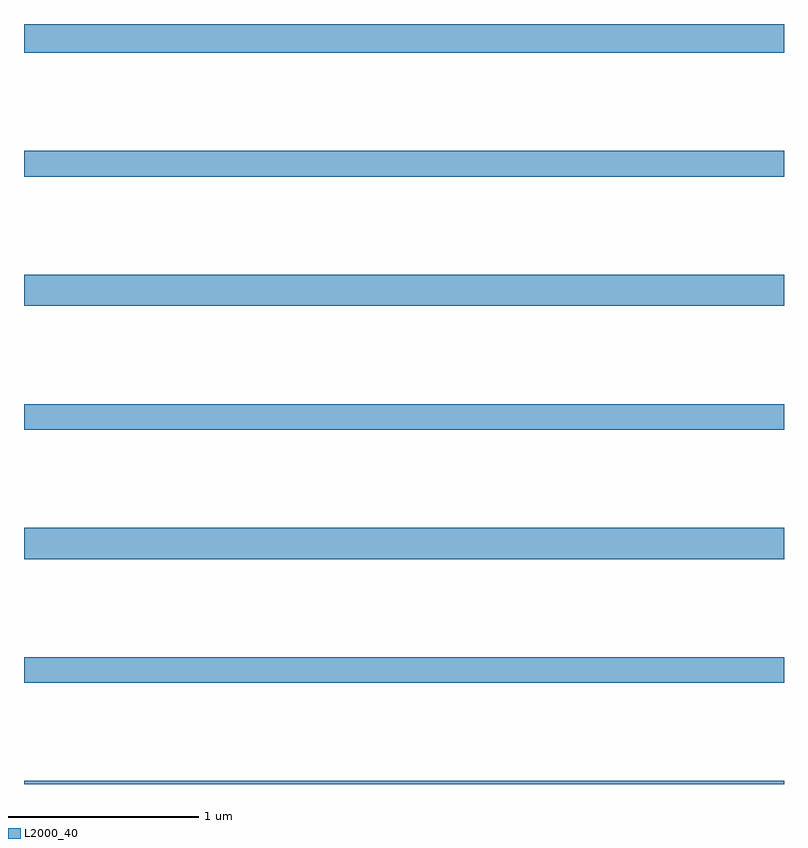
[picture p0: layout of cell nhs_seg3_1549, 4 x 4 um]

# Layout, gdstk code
import gdstk
lib = gdstk.Library(unit=1e-6, precision=1e-09)
def R(c, l, rs):  # rectangles x0, y0, x1, y1
    for r in rs: c.add(gdstk.rectangle(r[:2], r[2:], *l))
def A(c, l, x, y, w, h, nx, ny, dx, dy):  # array of equal rectangles
    R(c, l, [(x+i*dx, y+j*dy, x+i*dx+w, y+j*dy+h) for i in range(nx) for j in range(ny)])
L2000_40 = (2000, 40)

nhs_seg3_1549 = lib.new_cell('nhs_seg3_1549')
A(nhs_seg3_1549, L2000_40, 191, 698.932, 4, 0.136, 1, 3, 0, 1.332)
R(nhs_seg3_1549, L2000_40, [(191,698.4,195,698.416), (191,699.584,195,699.748), (191,700.916,195,701.08), (191,702.248,195,702.4)])

lib.write_gds('nhs_seg3_1549.gds')
